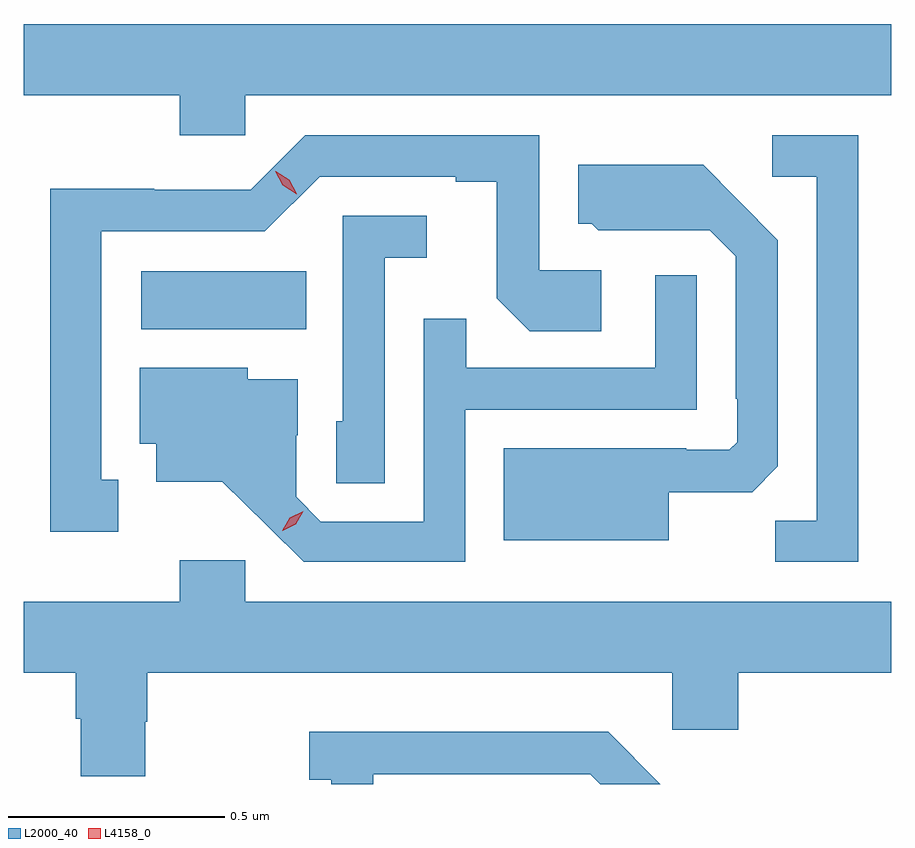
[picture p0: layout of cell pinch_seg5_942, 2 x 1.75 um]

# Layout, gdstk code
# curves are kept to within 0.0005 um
import gdstk
lib = gdstk.Library(unit=1e-6, precision=1e-09)
def R(c, l, rs):  # rectangles x0, y0, x1, y1
    for r in rs: c.add(gdstk.rectangle(r[:2], r[2:], *l))
def P(c, l, *ps):  # polygons
    for p in ps: c.add(gdstk.Polygon(p, *l))
L2000_40 = (2000, 40)
L4158_0 = (4158, 0)

pinch_seg5_942 = lib.new_cell('pinch_seg5_942')
R(pinch_seg5_942, L2000_40, [(724.344,882.86,724.724,882.994)])
P(pinch_seg5_942, L2000_40, [(724.584,883.4),(726.073,883.4),(726.073,883.564),(724.073,883.564),(724.073,883.4),(724.433,883.4),(724.433,883.307),(724.584,883.307)],
  [(725.997,883.308),(725.799,883.308),(725.799,883.212),(725.901,883.212),(725.901,882.419),(725.806,882.419),(725.806,882.324),(725.997,882.324)],
  [(724.291,882.513),(724.252,882.513),(724.252,883.086),(724.629,883.086),(724.755,883.212),(725.069,883.212),(725.069,883.2),(725.163,883.2),(725.163,882.932),(725.239,882.856),(725.404,882.856),(725.404,882.996),(725.262,882.996),(725.262,883.308),(724.722,883.308),(724.596,883.182),(724.374,883.182),(724.374,883.184),(724.134,883.184),(724.134,882.393),(724.291,882.393)],
  [(725.56,882.485),(725.752,882.485),(725.811,882.544),(725.811,883.066),(725.639,883.24),(725.351,883.24),(725.351,883.104),(725.382,883.104),(725.398,883.088),(725.532,883.088),(725.532,883.089),(725.655,883.089),(725.715,883.029),(725.715,882.7),(725.718,882.7),(725.718,882.6),(725.7,882.582),(725.6,882.582),(725.6,882.586),(725.18,882.586),(725.18,882.374),(725.56,882.374)],
  [(724.905,883.025),(725.002,883.025),(725.002,883.122),(724.809,883.122),(724.809,882.648),(724.794,882.648),(724.794,882.505),(724.905,882.505)],
  [(725.091,882.675),(725.625,882.675),(725.625,882.985),(725.529,882.985),(725.529,882.771),(725.093,882.771),(725.093,882.884),(724.995,882.884),(724.995,882.417),(724.758,882.417),(724.701,882.474),(724.701,882.616),(724.705,882.616),(724.705,882.745),(724.59,882.745),(724.59,882.772),(724.34,882.772),(724.34,882.596),(724.379,882.596),(724.379,882.509),(724.531,882.509),(724.718,882.324),(725.091,882.324)],
  [(724.353,881.955),(724.358,881.955),(724.358,882.068),(725.568,882.068),(725.568,881.937),(725.72,881.937),(725.72,882.068),(726.073,882.068),(726.073,882.232),(724.584,882.232),(724.584,882.328),(724.433,882.328),(724.433,882.232),(724.073,882.232),(724.073,882.068),(724.193,882.068),(724.193,881.962),(724.205,881.962),(724.205,881.83),(724.353,881.83)],
  [(724.879,881.835),(725.379,881.835),(725.402,881.812),(725.54,881.812),(725.42,881.932),(724.731,881.932),(724.731,881.822),(724.782,881.822),(724.782,881.812),(724.879,881.812)])
P(pinch_seg5_942, L4158_0, [(724.669,882.396),(724.669,882.396),(724.686,882.426),(724.717,882.441),(724.717,882.441),(724.717,882.441),(724.7,882.411),(724.67,882.396)],
  [(724.702,883.172),(724.67,883.192),(724.653,883.224),(724.653,883.225),(724.654,883.225),(724.685,883.205),(724.702,883.173),(724.702,883.172)])

lib.write_gds('pinch_seg5_942.gds')
